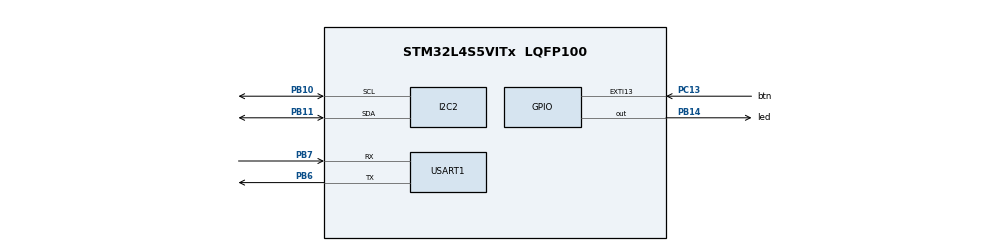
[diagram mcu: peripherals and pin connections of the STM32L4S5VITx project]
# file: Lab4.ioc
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FREERTOS.Tasks01=changeMode,0,128,changeModeTask,Default,NULL,Dynamic,NULL,NULL;readSensorData,0,128,readSensorDataTask,Default,NULL,Dynamic,NULL,NULL;outputData,-3,128,outputDataTask,Default,NULL,Dynamic,NULL,NULL
I2C2.Timing=0x00100D14
Mcu.Family=STM32L4
Mcu.Name=STM32L4S5VITx
Mcu.Package=LQFP100
NVIC.EXTI15_10_IRQn=true\:5\:0\:false\:false\:true\:true\:true\:true\:true
NVIC.PriorityGroup=NVIC_PRIORITYGROUP_4
NVIC.TIM1_TRG_COM_TIM17_IRQn=true\:15\:0\:false\:false\:true\:false\:false\:true\:true
NVIC.TimeBase=TIM1_TRG_COM_TIM17_IRQn
NVIC.TimeBaseIP=TIM17
NVIC.USART1_IRQn=true\:5\:0\:false\:false\:true\:true\:true\:true\:true
PB10.Mode=I2C
PB10.Signal=I2C2_SCL
PB11.Mode=I2C
PB11.Signal=I2C2_SDA
PB14.GPIO_Label=led
PB14.Signal=GPIO_Output
PB6.Mode=Asynchronous
PB6.Signal=USART1_TX
PB7.Mode=Asynchronous
PB7.Signal=USART1_RX
PC13.GPIO_Label=btn
PC13.Signal=GPXTI13
ProjectManager.HeapSize=0x200
ProjectManager.StackSize=0x400
ProjectManager.TargetToolchain=STM32CubeIDE
RCC.HSE_VALUE=8000000
RCC.HSI48_VALUE=48000000
RCC.HSI_VALUE=16000000
RCC.LSE_VALUE=32768
RCC.MSI_VALUE=4000000
RCC.VCOOutputFreq_Value=32000000
USART1.VirtualMode-Asynchronous=VM_ASYNC
VP_FREERTOS_VS_CMSIS_V1.Mode=CMSIS_V1
VP_SYS_VS_tim17.Mode=TIM17
board=custom

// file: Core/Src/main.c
/* USER CODE BEGIN Header */
/**
  ******************************************************************************
  * @file           : main.c
  * @brief          : Main program body
  ******************************************************************************
  * @attention
  *
  * Copyright (c) 2024 STMicroelectronics.
  * All rights reserved.
  *
  * This software is licensed under terms that can be found in the LICENSE file
  * in the root directory of this software component.
  * If no LICENSE file comes with this software, it is provided AS-IS.
  *
  ******************************************************************************
  */
/* USER CODE END Header */
#include "main.h"
#include "cmsis_os.h"

/* USER CODE BEGIN Includes */
#include <string.h>
#include <stdio.h>
#include <stdbool.h>
#include "stm32l4s5i_iot01_accelero.h"
#include "stm32l4s5i_iot01_magneto.h"
#include "stm32l4s5i_iot01_tsensor.h"
#include "stm32l4s5i_iot01_psensor.h"
/* USER CODE END Includes */

I2C_HandleTypeDef hi2c2;

UART_HandleTypeDef huart1;

osThreadId changeModeHandle;
osThreadId readSensorDataHandle;
osThreadId outputDataHandle;
/* USER CODE BEGIN PV */
uint8_t currentSensor = 0;
bool changeMode;
char output[200];
bool LEDState = true;

int temp;
int pressure;
int16_t mag[3];
int16_t acc[3];
/* USER CODE END PV */

void SystemClock_Config(void);
static void MX_GPIO_Init(void);
static void MX_I2C2_Init(void);
static void MX_USART1_UART_Init(void);
void changeModeTask(void const * argument);
void readSensorDataTask(void const * argument);
void outputDataTask(void const * argument);

/* USER CODE BEGIN PFP */
void showTemp(void);
void showAcc(void);
void showMagneto(void);
void showPressure(void);
/* USER CODE END PFP */

/* USER CODE BEGIN 0 */
void HAL_GPIO_EXTI_Callback(uint16_t GPIO_Pin) {
//		currentSensor = (currentSensor + 1) % 4;
        changeMode = true; // Cycle through 4 sensors
        LEDState = !LEDState;
        HAL_GPIO_WritePin(led_GPIO_Port, led_Pin, LEDState);
}
/* USER CODE END 0 */

int main(void)
{

  /* MCU Configuration--------------------------------------------------------*/

  /* Reset of all peripherals, Initializes the Flash interface and the Systick. */
  HAL_Init();

  /* Configure the system clock */
  SystemClock_Config();

  /* Initialize all configured peripherals */
  MX_GPIO_Init();
  MX_I2C2_Init();
  MX_USART1_UART_Init();
  /* USER CODE BEGIN 2 */
//  BSP_TSENSOR_Init();
//  BSP_ACCELERO_Init();
//  BSP_MAGNETO_Init();
//  BSP_PSENSOR_Init();
  /* USER CODE END 2 */

  /* Create the thread(s) */
  /* definition and creation of changeMode */
  osThreadDef(changeMode, changeModeTask, osPriorityNormal, 0, 128);
  changeModeHandle = osThreadCreate(osThread(changeMode), NULL);

  /* definition and creation of readSensorData */
  osThreadDef(readSensorData, readSensorDataTask, osPriorityNormal, 0, 128);
  readSensorDataHandle = osThreadCreate(osThread(readSensorData), NULL);

  /* definition and creation of outputData */
  osThreadDef(outputData, outputDataTask, osPriorityIdle, 0, 128);
  outputDataHandle = osThreadCreate(osThread(outputData), NULL);

//  /* USER CODE BEGIN RTOS_THREADS */
////  /* add threads, ... */
//  /* USER CODE END RTOS_THREADS */
//
//  /* Start scheduler */
  osKernelStart();

  /* We should never get here as control is now taken by the scheduler */

  /* Infinite loop */
  while (1)
  {

    /* USER CODE BEGIN 3 */
//	  switch (currentSensor) {
//	 	  		  case 0:
//	 	  			  showTemp();
//	 	  			  break;
//	 	  		  case 1:
//	 	  			  showPressure();
//	 	  			  break;
//	 	  		  case 2:
//	 	  			  showMagneto();
//	 	  			  break;
//	 	  		  case 3:
//	 	  			  showAcc();
//	 	  			  break;
//	  }
//	 	  	HAL_Delay(100);
  }
  /* USER CODE END 3 */
}

void SystemClock_Config(void)
{
  RCC_OscInitTypeDef RCC_OscInitStruct = {0};
  RCC_ClkInitTypeDef RCC_ClkInitStruct = {0};

  /** Configure the main internal regulator output voltage
  */
  if (HAL_PWREx_ControlVoltageScaling(PWR_REGULATOR_VOLTAGE_SCALE1) != HAL_OK)
  {
    Error_Handler();
  }

  /** Initializes the RCC Oscillators according to the specified parameters
  * in the RCC_OscInitTypeDef structure.
  */
  RCC_OscInitStruct.OscillatorType = RCC_OSCILLATORTYPE_MSI;
  RCC_OscInitStruct.MSIState = RCC_MSI_ON;
  RCC_OscInitStruct.MSICalibrationValue = 0;
  RCC_OscInitStruct.MSIClockRange = RCC_MSIRANGE_6;
  RCC_OscInitStruct.PLL.PLLState = RCC_PLL_NONE;
  if (HAL_RCC_OscConfig(&RCC_OscInitStruct) != HAL_OK)
  {
    Error_Handler();
  }

  /** Initializes the CPU, AHB and APB buses clocks
  */
  RCC_ClkInitStruct.ClockType = RCC_CLOCKTYPE_HCLK|RCC_CLOCKTYPE_SYSCLK
                              |RCC_CLOCKTYPE_PCLK1|RCC_CLOCKTYPE_PCLK2;
  RCC_ClkInitStruct.SYSCLKSource = RCC_SYSCLKSOURCE_MSI;
  RCC_ClkInitStruct.AHBCLKDivider = RCC_SYSCLK_DIV1;
  RCC_ClkInitStruct.APB1CLKDivider = RCC_HCLK_DIV1;
  RCC_ClkInitStruct.APB2CLKDivider = RCC_HCLK_DIV1;

  if (HAL_RCC_ClockConfig(&RCC_ClkInitStruct, FLASH_LATENCY_0) != HAL_OK)
  {
    Error_Handler();
  }
}

static void MX_I2C2_Init(void)
{

  hi2c2.Instance = I2C2;
  hi2c2.Init.Timing = 0x00100D14;
  hi2c2.Init.OwnAddress1 = 0;
  hi2c2.Init.AddressingMode = I2C_ADDRESSINGMODE_7BIT;
  hi2c2.Init.DualAddressMode = I2C_DUALADDRESS_DISABLE;
  hi2c2.Init.OwnAddress2 = 0;
  hi2c2.Init.OwnAddress2Masks = I2C_OA2_NOMASK;
  hi2c2.Init.GeneralCallMode = I2C_GENERALCALL_DISABLE;
  hi2c2.Init.NoStretchMode = I2C_NOSTRETCH_DISABLE;
  if (HAL_I2C_Init(&hi2c2) != HAL_OK)
  {
    Error_Handler();
  }

  /** Configure Analogue filter
  */
  if (HAL_I2CEx_ConfigAnalogFilter(&hi2c2, I2C_ANALOGFILTER_ENABLE) != HAL_OK)
  {
    Error_Handler();
  }

  /** Configure Digital filter
  */
  if (HAL_I2CEx_ConfigDigitalFilter(&hi2c2, 0) != HAL_OK)
  {
    Error_Handler();
  }

}

static void MX_USART1_UART_Init(void)
{

  huart1.Instance = USART1;
  huart1.Init.BaudRate = 115200;
  huart1.Init.WordLength = UART_WORDLENGTH_8B;
  huart1.Init.StopBits = UART_STOPBITS_1;
  huart1.Init.Parity = UART_PARITY_NONE;
  huart1.Init.Mode = UART_MODE_TX_RX;
  huart1.Init.HwFlowCtl = UART_HWCONTROL_NONE;
  huart1.Init.OverSampling = UART_OVERSAMPLING_16;
  huart1.Init.OneBitSampling = UART_ONE_BIT_SAMPLE_DISABLE;
  huart1.Init.ClockPrescaler = UART_PRESCALER_DIV1;
  huart1.AdvancedInit.AdvFeatureInit = UART_ADVFEATURE_NO_INIT;
  if (HAL_UART_Init(&huart1) != HAL_OK)
  {
    Error_Handler();
  }
  if (HAL_UARTEx_SetTxFifoThreshold(&huart1, UART_TXFIFO_THRESHOLD_1_8) != HAL_OK)
  {
    Error_Handler();
  }
  if (HAL_UARTEx_SetRxFifoThreshold(&huart1, UART_RXFIFO_THRESHOLD_1_8) != HAL_OK)
  {
    Error_Handler();
  }
  if (HAL_UARTEx_DisableFifoMode(&huart1) != HAL_OK)
  {
    Error_Handler();
  }

}

static void MX_GPIO_Init(void)
{
  GPIO_InitTypeDef GPIO_InitStruct = {0};

  /* GPIO Ports Clock Enable */
  __HAL_RCC_GPIOC_CLK_ENABLE();
  __HAL_RCC_GPIOB_CLK_ENABLE();

  /*Configure GPIO pin Output Level */
  HAL_GPIO_WritePin(led_GPIO_Port, led_Pin, GPIO_PIN_RESET);

  /*Configure GPIO pin : btn_Pin */
  GPIO_InitStruct.Pin = btn_Pin;
  GPIO_InitStruct.Mode = GPIO_MODE_IT_RISING;
  GPIO_InitStruct.Pull = GPIO_NOPULL;
  HAL_GPIO_Init(btn_GPIO_Port, &GPIO_InitStruct);

  /*Configure GPIO pin : led_Pin */
  GPIO_InitStruct.Pin = led_Pin;
  GPIO_InitStruct.Mode = GPIO_MODE_OUTPUT_PP;
  GPIO_InitStruct.Pull = GPIO_NOPULL;
  GPIO_InitStruct.Speed = GPIO_SPEED_FREQ_LOW;
  HAL_GPIO_Init(led_GPIO_Port, &GPIO_InitStruct);

  /* EXTI interrupt init*/
  HAL_NVIC_SetPriority(EXTI15_10_IRQn, 5, 0);
  HAL_NVIC_EnableIRQ(EXTI15_10_IRQn);

}

/* USER CODE BEGIN 4 */
void showTemp(){
	float temp = BSP_TSENSOR_ReadTemp();
	sprintf(output, "Temperature: %.2f %\r\n", temp);
	HAL_UART_Transmit(&huart1, (uint8_t*)output, strlen(output), HAL_MAX_DELAY);
}
void showPressure(){
	float pressure = BSP_PSENSOR_ReadPressure();
	sprintf(output, "Pressure: %.2f %\r\n", pressure);
	HAL_UART_Transmit(&huart1, (uint8_t*)output, strlen(output), HAL_MAX_DELAY);
}
void showMagneto(){
	int16_t mag[3];
	BSP_MAGNETO_GetXYZ(mag);
	sprintf(output, "Magnetometer: X=%d Y=%d Z=%d\r\n",mag[0], mag[1], mag[2]);
	HAL_UART_Transmit(&huart1, (uint8_t*)output, strlen(output), HAL_MAX_DELAY);
}
void showAcc(){
	int16_t acc[3];
	BSP_ACCELERO_AccGetXYZ(acc);
	sprintf(output, "Accelerator: X=%d Y=%d Z=%d\r\n",acc[0], acc[1], acc[2]);
	HAL_UART_Transmit(&huart1, (uint8_t*)output, strlen(output), HAL_MAX_DELAY);
}
/* USER CODE END 4 */

void changeModeTask(void const * argument)
{
  /* USER CODE BEGIN 5 */
  /* Infinite loop */
  for(;;)
  {
    osDelay(100);
    if(changeMode==true){
    	currentSensor = (currentSensor+1)%4;
    	changeMode = false;
    }
  }
  /* USER CODE END 5 */
}

void readSensorDataTask(void const * argument)
{
  /* USER CODE BEGIN readSensorDataTask */
  /* Infinite loop */
  for(;;)
  {
    osDelay(100);

	switch (currentSensor) {
				  case 0:
					  if(BSP_TSENSOR_Init() != TSENSOR_OK)Error_Handler();
					  temp = (int)  BSP_TSENSOR_ReadTemp();
					  break;

				  case 1:
					  if(BSP_PSENSOR_Init() != PSENSOR_OK)Error_Handler();
					  pressure = (int) BSP_PSENSOR_ReadPressure();
					  break;
				  case 2:
					  if(BSP_MAGNETO_Init() != MAGNETO_OK)Error_Handler();
					  BSP_MAGNETO_GetXYZ(mag);
					  break;
				  case 3:
					  if(BSP_ACCELERO_Init() != ACCELERO_OK)Error_Handler();
					  BSP_ACCELERO_AccGetXYZ(acc);
					  break;
	}
  }
  /* USER CODE END readSensorDataTask */
}

void outputDataTask(void const * argument)
{
  /* USER CODE BEGIN outputDataTask */
  /* Infinite loop */
  for(;;)
  {
    osDelay(100);
    switch (currentSensor) {
				  case 0:
					  sprintf(output, "Temperature: %.2d %\r\n", temp);
					  break;
				  case 1:
					  sprintf(output, "Pressure: %.2d %\r\n", pressure);
					  break;
				  case 2:
					  sprintf(output, "Magnetometer: X=%d Y=%d Z=%d\r\n",(int) mag[0], (int) mag[1], (int) mag[2]);
					  break;
				  case 3:
					  sprintf(output, "Accelerator: X=%d Y=%d Z=%d\r\n", (int) acc[0], (int) acc[1], (int) acc[2]);
					  break;
	}
    HAL_UART_Transmit(&huart1, (uint8_t*)output,  (uint16_t)strlen(output), HAL_MAX_DELAY);
  }
  /* USER CODE END outputDataTask */
}

void HAL_TIM_PeriodElapsedCallback(TIM_HandleTypeDef *htim)
{
  if (htim->Instance == TIM17) {
    HAL_IncTick();
  }
}

void Error_Handler(void)
{
  /* USER CODE BEGIN Error_Handler_Debug */
  /* User can add his own implementation to report the HAL error return state */
  __disable_irq();
  while (1)
  {

	  //HAL_Delay(100); // Sample at 10 Hz

  }
  /* USER CODE END Error_Handler_Debug */
}
